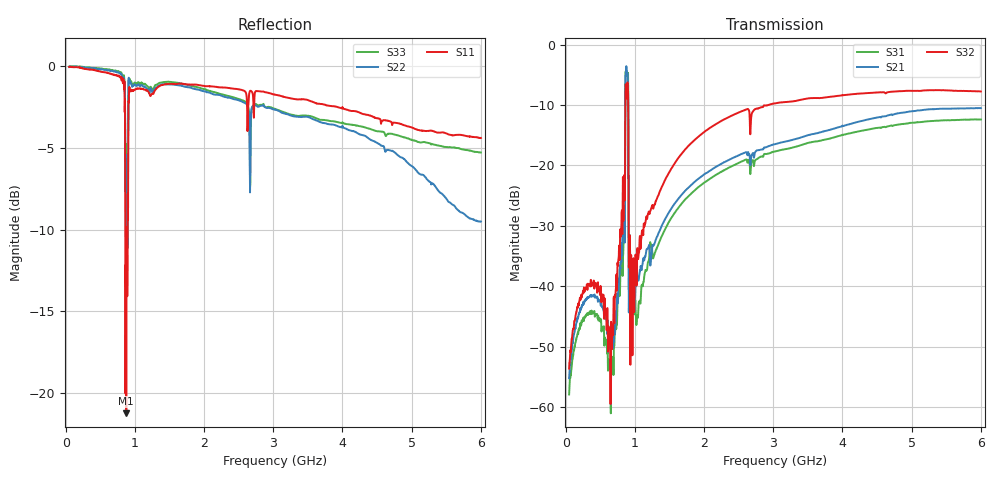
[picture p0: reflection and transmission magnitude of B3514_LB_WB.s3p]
! Matrix data file written by TouchstoneData, EPCOS AG
! FILENAME: "LQ71A_LB_2_WB.s3p_newformat"
! COMMENT: "(LQ71A_LB_2_WB.s3p) EPCOS AG 18.03.2009 15:2"
! INFO: nport=3, nfreq=1601
! DATE: "Thu Apr  2 14:33:33 2009"
! USER: "Michael Schemies"
! port | pin | signal
!  1  |  9  |  input
!  2  |  1  |  output
!  3  |  2  |  output
# MHZ S MA R 50
! freq  magS11 angS11  magS12 angS12  magS13 angS13  ...
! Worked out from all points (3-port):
!   1601 points, 50 MHz to 6 GHz, reference 50 ohm
!   strongest paths, dB at 50 MHz, 1.538 GHz, 3.025 GHz, 4.513 GHz, 6 GHz:
!     S32: -53.7, -20.3, -9.7, -7.9, -7.7
!     S21: -55.3, -26.9, -16.5, -12.0, -10.5
!     S31: -57.9, -28.5, -17.7, -13.8, -12.4
!   lowest |S11| = -21.2 dB at 875.6 MHz (marker M1), VSWR 1.19, Z = 57.4 + j5.68 ohm
!   |S11| at or under -10 dB: 861.3 MHz to 882.8 MHz (21.54 MHz wide, 2.47 % of centre); 883.8 MHz to 896.1 MHz (12.29 MHz wide, 1.38 % of centre)
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50  0.9941 -8.1  0.00181 82.6  0.001311 82.9
    0.001725 85.1  0.9939 -4.3  0.002075 86.8
    0.001267 83.4  0.002074 85.9  0.9957 -4.2
336.3438  0.9752 -53.2  0.00813 52.0  0.005946 51.9
          0.00816 52.1  0.9872 -29.3  0.01032 64.1
          0.005949 52.3  0.01028 64.1  0.9895 -29.6
674.75  0.9439 -102.1  0.003159 91.9  0.002359 111.2
        0.003161 91.7  0.9664 -61.3  0.003881 145.9
        0.002366 111.5  0.003893 146.3  0.9728 -60.4
827.2188  0.8863 -143.3  0.02994 133.2  0.01794 130.6
          0.02987 133.2  0.8933 -96.5  0.08016 151.6
          0.01791 130.7  0.08021 151.6  0.9156 -92.3
875.5625  0.08682 34.4  0.6642 79.7  0.573 -102.3
          0.6644 79.8  0.4416 -42.2  0.3998 -40.2
          0.5712 -102.2  0.3986 -40.2  0.5432 -46.0
942.5  0.8364 -92.6  0.00651 133.1  0.01155 31.5
       0.00653 132.9  0.8856 -54.6  0.01502 121.8
       0.01154 31.4  0.01503 121.9  0.8963 -52.2
1016.875  0.8504 -112.3  0.01031 127.5  0.005491 68.8
          0.01031 127.6  0.8705 -69.6  0.01566 132.0
          0.005494 68.9  0.01568 131.9  0.8835 -66.8
1701.125  0.8816 -160.9  0.05941 109.5  0.05028 111.4
          0.05936 109.5  0.8666 -119.7  0.1302 141.1
          0.05034 111.4  0.1303 141.1  0.8812 -111.4
3025  0.8181 155.2  0.1503 47.4  0.1306 45.6
      0.15 47.5  0.7356 176.6  0.3272 76.0
      0.1307 45.8  0.3266 76.2  0.7397 -169.7
6000  0.6025 62.5  0.2983 -64.2  0.2402 -65.5
      0.2989 -64.0  0.3348 98.2  0.4101 -15.3
      0.2401 -65.5  0.4099 -15.5  0.5445 142.2
